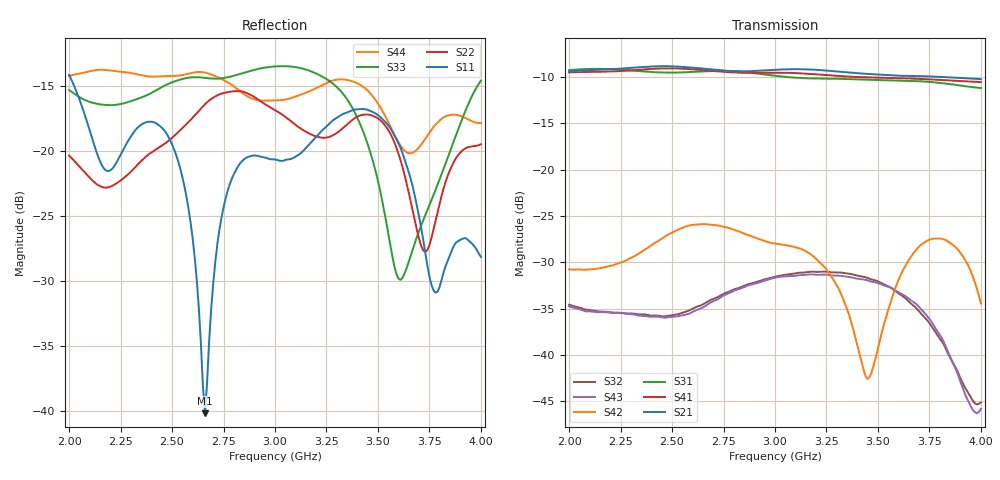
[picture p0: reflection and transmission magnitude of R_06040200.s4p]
!Agilent Technologies,N5224A,MY51441093,A.09.90.21
!Agilent N5224A: A.09.90.21
!Date: Friday, December 19, 2025 16:47:49
!Correction: S11(Full 4 Port(1,2,3,4))
!S12(Full 4 Port(1,2,3,4))
!S13(Full 4 Port(1,2,3,4))
!S14(Full 4 Port(1,2,3,4))
!S21(Full 4 Port(1,2,3,4))
!S22(Full 4 Port(1,2,3,4))
!S23(Full 4 Port(1,2,3,4))
!S24(Full 4 Port(1,2,3,4))
!S31(Full 4 Port(1,2,3,4))
!S32(Full 4 Port(1,2,3,4))
!S33(Full 4 Port(1,2,3,4))
!S34(Full 4 Port(1,2,3,4))
!S41(Full 4 Port(1,2,3,4))
!S42(Full 4 Port(1,2,3,4))
!S43(Full 4 Port(1,2,3,4))
!S44(Full 4 Port(1,2,3,4))
!S4P File: Measurements: <S11,S12,S13,S14>,
!<S21,S22,S23,S24>,
!<S31,S32,S33,S34>,
!<S41,S42,S43,S44>:
# Hz S  dB  R 50
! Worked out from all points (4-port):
!   201 points, 2 GHz to 4 GHz, reference 50 ohm
!   strongest paths, dB at 2 GHz, 2.5 GHz, 3 GHz, 3.5 GHz, 4 GHz:
!     S21: -9.4, -8.9, -9.2, -9.7, -10.2
!     S41: -9.5, -9.1, -9.6, -10.1, -10.6
!     S31: -9.3, -9.5, -9.9, -10.4, -11.2
!     S42: -30.8, -26.8, -28.0, -39.3, -34.4
!     S43: -34.7, -35.9, -31.7, -32.3, -45.8
!     S32: -34.6, -35.7, -31.6, -32.1, -45.1
!   lowest |S11| = -40.2 dB at 2.66 GHz (marker M1), VSWR 1.02, Z = 50.4 - j0.911 ohm
!   |S11| at or under -10 dB: start of sweep to end of sweep
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2e9  -14.14 -52.0  -9.38 -73.9  -9.23 -170.1  -9.64 -123.9
     -9.41 -73.9  -20.34 109.3  -34.54 -51.7  -30.92 -21.9
     -9.28 -170.0  -34.59 -51.4  -15.29 4.9  -34.92 -102.4
     -9.52 -123.6  -30.77 -21.7  -34.74 -102.3  -14.20 -3.7
2.51e9  -19.87 -101.3  -8.85 22.9  -9.47 -65.4  -9.22 -22.8
        -8.88 22.8  -18.83 -130.7  -35.64 175.0  -26.84 -7.0
        -9.54 -65.4  -35.68 175.3  -14.64 -131.7  -36.09 130.3
        -9.10 -22.8  -26.70 -6.9  -35.88 130.3  -14.21 -146.8
2.66e9  -40.18 -67.5  -9.10 -53.4  -9.34 -139.6  -9.41 -99.0
        -9.14 -53.5  -16.39 -164.5  -34.40 48.4  -26.04 -104.4
        -9.40 -139.6  -34.44 48.5  -14.36 -172.1  -34.92 3.9
        -9.30 -99.0  -25.89 -104.2  -34.74 3.9  -13.95 178.5
2.86e9  -20.51 -45.6  -9.35 -151.1  -9.44 118.6  -9.67 162.3
        -9.40 -151.2  -15.51 145.5  -32.41 -125.4  -27.15 140.0
        -9.51 118.8  -32.46 -125.2  -13.92 146.1  -32.74 -172.6
        -9.57 162.4  -27.01 140.3  -32.58 -172.6  -15.72 140.4
3.28e9  -17.64 -77.3  -9.35 -0.1  -10.13 -88.5  -9.93 -46.2
        -9.39 -0.2  -18.79 99.9  -31.05 -132.8  -31.88 -78.2
        -10.21 -88.3  -31.10 -132.7  -14.78 43.2  -31.57 -178.9
        -9.86 -46.0  -31.77 -78.0  -31.43 -178.9  -14.56 86.7
3.61e9  -19.76 -146.8  -9.86 -161.0  -10.34 107.1  -10.21 151.9
        -9.89 -161.0  -20.71 38.8  -33.45 -66.7  -31.49 -132.3
        -10.43 107.5  -33.50 -66.4  -29.91 -139.4  -33.50 -113.2
        -10.16 152.3  -31.42 -132.0  -33.36 -113.1  -19.58 34.2
4e9  -28.14 -102.6  -10.19 8.5  -11.12 -89.4  -10.60 -40.8
     -10.25 8.8  -19.47 75.1  -45.14 -141.6  -34.52 -8.2
     -11.21 -88.8  -45.13 -140.8  -14.57 90.1  -45.91 163.9
     -10.57 -40.0  -34.45 -7.7  -45.79 164.1  -17.83 18.6
